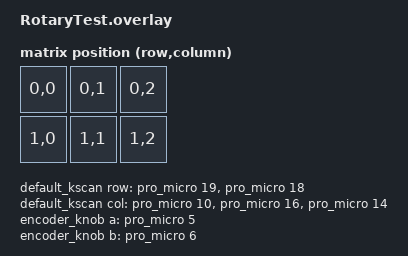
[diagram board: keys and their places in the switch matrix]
#include <dt-bindings/zmk/matrix_transform.h>

/ {
    chosen {
        zmk,kscan = &default_kscan;
        zmk,matrix_transform = &transform;
    };

    default_kscan: kscan {
        compatible = "zmk,kscan-gpio-matrix";
        label = "KSCAN";
        diode-direction = "col2row";

        row-gpios = <&pro_micro 19 (GPIO_ACTIVE_HIGH | GPIO_PULL_DOWN)>,
                    <&pro_micro 18 (GPIO_ACTIVE_HIGH | GPIO_PULL_DOWN)>;

        col-gpios = <&pro_micro 10 (GPIO_ACTIVE_HIGH)>,
                    <&pro_micro 16 (GPIO_ACTIVE_HIGH)>,
                    <&pro_micro 14 (GPIO_ACTIVE_HIGH)>;
    };

    transform: matrix_transform {
        compatible = "zmk,matrix-transform";
        rows = <2>;
        columns = <3>;

        map = <
                RC(0, 0) RC(0, 1) RC(0, 2)
                RC(1, 0) RC(1, 1) RC(1, 2)
        >;
    };

    encoder_knob: encoder_knob {
        compatible = "alps,ec11";
        a-gpios = <&pro_micro 5 (GPIO_ACTIVE_HIGH | GPIO_PULL_UP)>;          
        b-gpios = <&pro_micro 6 (GPIO_ACTIVE_HIGH | GPIO_PULL_UP)>;
        steps = <80>;
        status = "disabled";
    };

    sensors: sensors {
        compatible = "zmk,keymap-sensors";
        sensors = <&encoder_knob>;
        triggers-per-rotation = <10>;
    };

    &encoder_knob {
        status = "okay";
    };
};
